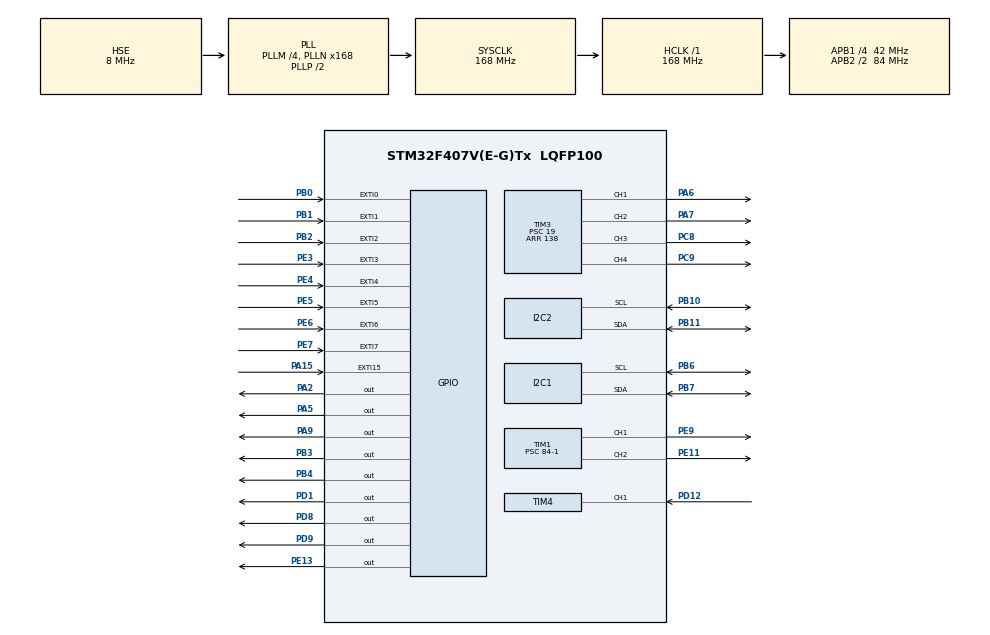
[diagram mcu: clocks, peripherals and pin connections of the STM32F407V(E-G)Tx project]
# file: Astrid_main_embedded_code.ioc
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I2C1.OwnAddress=0x20
I2C2.OwnAddress=0x21
Mcu.Family=STM32F4
Mcu.Name=STM32F407V(E-G)Tx
Mcu.Package=LQFP100
NVIC.EXTI0_IRQn=true\:0\:0\:false\:false\:true\:true\:true\:true
NVIC.EXTI15_10_IRQn=true\:0\:0\:false\:false\:true\:true\:true\:true
NVIC.EXTI1_IRQn=true\:0\:0\:false\:false\:true\:true\:true\:true
NVIC.EXTI2_IRQn=true\:0\:0\:false\:false\:true\:true\:true\:true
NVIC.EXTI3_IRQn=true\:0\:0\:false\:false\:true\:true\:true\:true
NVIC.EXTI4_IRQn=true\:0\:0\:false\:false\:true\:true\:true\:true
NVIC.EXTI9_5_IRQn=true\:0\:0\:false\:false\:true\:true\:true\:true
NVIC.I2C1_ER_IRQn=true\:0\:0\:false\:false\:true\:true\:true\:true
NVIC.I2C1_EV_IRQn=true\:0\:0\:false\:false\:true\:true\:true\:true
NVIC.I2C2_ER_IRQn=true\:0\:0\:false\:false\:true\:true\:true\:true
NVIC.I2C2_EV_IRQn=true\:0\:0\:false\:false\:true\:true\:true\:true
NVIC.PriorityGroup=NVIC_PRIORITYGROUP_4
NVIC.TIM4_IRQn=true\:0\:0\:false\:false\:true\:true\:true\:true
PA13.Mode=Serial_Wire
PA13.Signal=SYS_JTMS-SWDIO
PA14.Mode=Serial_Wire
PA14.Signal=SYS_JTCK-SWCLK
PA15.GPIO_ModeDefaultEXTI=GPIO_MODE_IT_RISING_FALLING
PA15.GPIO_PuPd=GPIO_PULLUP
PA15.Signal=GPXTI15
PA2.GPIO_ModeDefaultOutputPP=GPIO_MODE_OUTPUT_PP
PA2.Signal=GPIO_Output
PA5.Signal=GPIO_Output
PA6.Signal=S_TIM3_CH1
PA7.Signal=S_TIM3_CH2
PA9.Signal=GPIO_Output
PB0.GPIO_ModeDefaultEXTI=GPIO_MODE_IT_RISING_FALLING
PB0.GPIO_PuPd=GPIO_PULLUP
PB0.Signal=GPXTI0
PB1.Signal=GPXTI1
PB10.Mode=I2C
PB10.Signal=I2C2_SCL
PB11.Mode=I2C
PB11.Signal=I2C2_SDA
PB2.GPIO_ModeDefaultEXTI=GPIO_MODE_IT_RISING_FALLING
PB2.GPIO_PuPd=GPIO_PULLUP
PB2.Signal=GPXTI2
PB3.Signal=GPIO_Output
PB4.Signal=GPIO_Output
PB6.Mode=I2C
PB6.Signal=I2C1_SCL
PB7.Mode=I2C
PB7.Signal=I2C1_SDA
PC14-OSC32_IN.Mode=LSE-External-Oscillator
PC14-OSC32_IN.Signal=RCC_OSC32_IN
PC15-OSC32_OUT.Mode=LSE-External-Oscillator
PC15-OSC32_OUT.Signal=RCC_OSC32_OUT
PC8.Signal=S_TIM3_CH3
PC9.Signal=S_TIM3_CH4
PD1.Signal=GPIO_Output
PD12.Signal=S_TIM4_CH1
PD8.Signal=GPIO_Output
PD9.Signal=GPIO_Output
PE11.Signal=S_TIM1_CH2
PE13.Signal=GPIO_Output
PE3.GPIO_ModeDefaultEXTI=GPIO_MODE_IT_RISING_FALLING
PE3.GPIO_PuPd=GPIO_NOPULL
PE3.Signal=GPXTI3
PE4.GPIO_ModeDefaultEXTI=GPIO_MODE_IT_RISING_FALLING
PE4.GPIO_PuPd=GPIO_PULLUP
PE4.Signal=GPXTI4
PE5.GPIO_ModeDefaultEXTI=GPIO_MODE_IT_RISING
PE5.Signal=GPXTI5
PE6.GPIO_ModeDefaultEXTI=GPIO_MODE_IT_RISING_FALLING
PE6.GPIO_PuPd=GPIO_PULLUP
PE6.Signal=GPXTI6
PE7.Signal=GPXTI7
PE9.Signal=S_TIM1_CH1
PH0-OSC_IN.Mode=HSE-External-Oscillator
PH0-OSC_IN.Signal=RCC_OSC_IN
PH1-OSC_OUT.Mode=HSE-External-Oscillator
PH1-OSC_OUT.Signal=RCC_OSC_OUT
ProjectManager.HeapSize=0x200
ProjectManager.StackSize=0x400
ProjectManager.TargetToolchain=STM32CubeIDE
RCC.48MHZClocksFreq_Value=84000000
RCC.AHBFreq_Value=168000000
RCC.APB1CLKDivider=RCC_HCLK_DIV4
RCC.APB1Freq_Value=42000000
RCC.APB1TimFreq_Value=84000000
RCC.APB2CLKDivider=RCC_HCLK_DIV2
RCC.APB2Freq_Value=84000000
RCC.APB2TimFreq_Value=168000000
RCC.CortexFreq_Value=168000000
RCC.HCLKFreq_Value=168000000
RCC.HSE_VALUE=8000000
RCC.HSI_VALUE=16000000
RCC.PLLM=4
RCC.PLLN=168
RCC.PLLSourceVirtual=RCC_PLLSOURCE_HSE
RCC.SYSCLKFreq_VALUE=168000000
RCC.SYSCLKSource=RCC_SYSCLKSOURCE_PLLCLK
RCC.VCOOutputFreq_Value=336000000
SH.S_TIM1_CH1.0=TIM1_CH1,PWM Generation1 CH1
SH.S_TIM1_CH2.0=TIM1_CH2,PWM Generation2 CH2
SH.S_TIM3_CH1.0=TIM3_CH1,PWM Generation1 CH1
SH.S_TIM3_CH2.0=TIM3_CH2,PWM Generation2 CH2
SH.S_TIM3_CH3.0=TIM3_CH3,PWM Generation3 CH3
SH.S_TIM3_CH4.0=TIM3_CH4,PWM Generation4 CH4
SH.S_TIM4_CH1.0=TIM4_CH1,Input_Capture1_from_TI1
TIM1.Channel-PWM\ Generation1\ CH1=TIM_CHANNEL_1
TIM1.Channel-PWM\ Generation2\ CH2=TIM_CHANNEL_2
TIM1.Period=85-1
TIM1.Prescaler=84-1
TIM2.Prescaler=84-1
TIM3.Channel-PWM\ Generation1\ CH1=TIM_CHANNEL_1
TIM3.Channel-PWM\ Generation2\ CH2=TIM_CHANNEL_2
TIM3.Channel-PWM\ Generation3\ CH3=TIM_CHANNEL_3
TIM3.Channel-PWM\ Generation4\ CH4=TIM_CHANNEL_4
TIM3.Period=138
TIM3.Prescaler=19
TIM4.Channel-Input_Capture1_from_TI1=TIM_CHANNEL_1
TIM4.ICFilter_CH1=15
TIM4.ICPolarity_CH1=TIM_INPUTCHANNELPOLARITY_FALLING
TIM4.Period=50000
TIM4.Prescaler=41999
VP_TIM1_VS_ClockSourceINT.Mode=Internal
VP_TIM2_VS_ClockSourceINT.Mode=Internal
VP_TIM3_VS_ClockSourceINT.Mode=Internal
VP_TIM4_VS_ClockSourceINT.Mode=Internal
VP_TIM5_VS_ClockSourceINT.Mode=Internal
board=custom

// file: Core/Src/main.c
/* USER CODE BEGIN Header */
/**
  ******************************************************************************
  * @file           : main.c
  * @brief          : Main program body
  ******************************************************************************
  * @attention
  *
  * Copyright (c) 2024 STMicroelectronics.
  * All rights reserved.
  *
  * This software is licensed under terms that can be found in the LICENSE file
  * in the root directory of this software component.
  * If no LICENSE file comes with this software, it is provided AS-IS.
  *
  ******************************************************************************
  */
/* USER CODE END Header */
#include "main.h"

/* USER CODE BEGIN PD */
 #define RX_SIZE 32
 #define TX_SIZE 1
/* USER CODE END PD */

I2C_HandleTypeDef hi2c1;
I2C_HandleTypeDef hi2c2;

TIM_HandleTypeDef htim1;
TIM_HandleTypeDef htim2;
TIM_HandleTypeDef htim3;
TIM_HandleTypeDef htim4;
TIM_HandleTypeDef htim5;

void SystemClock_Config(void);
static void MX_GPIO_Init(void);
static void MX_TIM1_Init(void);
static void MX_TIM2_Init(void);
static void MX_TIM3_Init(void);
static void MX_TIM4_Init(void);
static void MX_TIM5_Init(void);
static void MX_I2C1_Init(void);
static void MX_I2C2_Init(void);

/* USER CODE BEGIN 0 */
// ENCODER
volatile int32_t encoder=0;
// direksiyon için kumanda sinyali değişkenleri extı_2
 volatile uint32_t starttime3=0;
 volatile uint32_t endtime3=0;
 volatile float pulsewidth3=0;
 volatile uint32_t count3=0;
 volatile uint32_t pulsewidth_prev=0;

 // proximity 1 extı3
 extern volatile uint32_t falling_detected2;
 // proximity2 extı5
 extern volatile uint16_t falling_detected;

 // TULPAR İÇİN KUMANDA DE�?İ�?KENLERİ
 extern volatile uint32_t starttime1;
 extern volatile uint32_t endtime1;
 extern volatile uint32_t pulsewidth1;
 extern volatile uint32_t count1;
 extern volatile int32_t dutycycle0;
 extern volatile int32_t dutycycle1;
 extern volatile int32_t dutycycle2;
 volatile uint32_t  dutycyclenew1=0;
 volatile uint32_t  dutycyclenew2=0;

 // FREN İÇİN KUMANDA SİNYALİ
 extern volatile uint32_t starttime;
 extern volatile uint32_t endtime;
 extern volatile uint32_t pulsewidth;
 extern volatile uint32_t count;
 extern volatile uint32_t command;
 extern volatile uint32_t signal;

 // pid kontrol değişkenleri
 volatile float ref_aci=0;
 volatile uint32_t t=0;
 volatile uint32_t t_prev=0;
 volatile float motoraci=0;
 volatile float aci1=0;
 volatile uint32_t aci1_prev=0;
 volatile int32_t dt=0;
 volatile int32_t error=0;
 volatile int32_t error_prev=0;
 volatile int32_t inte=0;
 volatile int32_t inte_prev=0;
 int32_t vmax=100;
 int32_t vmin=-100;
 volatile int32_t v=0;
volatile uint32_t counter=0;
volatile uint32_t pompa=0;
uint32_t b=0;
 // BO�?
 volatile int AA=0;
 volatile uint32_t duty=0;
 volatile uint32_t BB=0;
 volatile uint32_t BA=0;
 volatile uint32_t motorhiz=0;

 volatile uint32_t periyot=0, periyot1=0, periyot2=0;
 int sinirpos = 5;
 int sinirneg = -5;
 float counnt=0;
 float capture_value=0;
 float frequency=0;
 float rpm=0;
 float velo=0;
 uint32_t drive_duty=0;
 uint32_t wello =1;
 uint32_t wello_count =0;
 uint32_t wello_counter =0;

 uint32_t Encoder=720;
 uint32_t Brake = 0;
 uint32_t Drive=0;

 uint8_t RxBuffer[RX_SIZE];  // Buffer for incoming data
 uint8_t TxBuffer=50;

 void velocalculate(){
	counnt++;

	if(counnt>10000)
	{
	rpm=0;
	}
 }

 int motorrhiz(int duty,int minduty,int maxduty)
 {
 	float desiredrange=maxduty-minduty;
 	float tf =desiredrange/1904;
 	 if(duty>6198)
	{

	int duty2pwm=((duty-6198)*tf)+minduty;
			if(duty2pwm<25)
				{
				  return 0;
				}
			else
				{
				  return duty2pwm;
				}

	}

 return 0;
 }

 void drive_func()
  {
	 drive_duty=motorrhiz(dutycycle0, 60 ,65);
 	  			__HAL_TIM_SET_COMPARE(&htim3,TIM_CHANNEL_1, drive_duty);
  }
  void motorfonksiyon_pid()
  {
 	 	ref_aci=-((pulsewidth3-84000)/69.3)+1333;
 		aci1=encoder*0.12;
 		motoraci=aci1+720;
 		error=ref_aci-motoraci;
 		if(error>sinirpos)
 		{
 			__HAL_TIM_SET_COMPARE(&htim3,TIM_CHANNEL_3,0);
 			__HAL_TIM_SET_COMPARE(&htim3,TIM_CHANNEL_4,60);
 			sinirpos = 5;
 			sinirneg = -5;

 		}
 		else if(error<sinirneg)
 		{

 			__HAL_TIM_SET_COMPARE(&htim3,TIM_CHANNEL_3,60);
 			__HAL_TIM_SET_COMPARE(&htim3,TIM_CHANNEL_4,0);
 			sinirpos = 5;
 			sinirneg = -5;
 		}
 		else
 		{
 			sinirneg = -10;
 			sinirpos = 10;
 			__HAL_TIM_SET_COMPARE(&htim3,TIM_CHANNEL_3,0);
 			__HAL_TIM_SET_COMPARE(&htim3,TIM_CHANNEL_4,0);
 		}

  }

  void motorfonksiyon_pid_i2c()
    {

    	aci1=encoder*0.12;
    	motoraci=aci1+720;
    	error=Encoder-motoraci;// error hesabı
    	if(error>sinirpos)
    	{
    		__HAL_TIM_SET_COMPARE(&htim3,TIM_CHANNEL_3,0);
    		__HAL_TIM_SET_COMPARE(&htim3,TIM_CHANNEL_4,60);
    		sinirpos = 5;
    		sinirneg = -5;

    	}
    	else if(error<sinirneg)
    	{

    		__HAL_TIM_SET_COMPARE(&htim3,TIM_CHANNEL_3,60);
    	 	__HAL_TIM_SET_COMPARE(&htim3,TIM_CHANNEL_4,0);
    	 	sinirpos = 5;
  		sinirneg = -5;
    	}
    	else
    	{
    		sinirneg = -10;
    		sinirpos = 10;
    		__HAL_TIM_SET_COMPARE(&htim3,TIM_CHANNEL_3,0);
    		__HAL_TIM_SET_COMPARE(&htim3,TIM_CHANNEL_4,0);
    	}
    }

  void drive_func_i2c(uint32_t pwm)
    {
	  __HAL_TIM_SET_COMPARE(&htim3,TIM_CHANNEL_1, pwm);
    }
 void i2c_sum(){
	 Encoder=RxBuffer[1]+RxBuffer[2]+RxBuffer[3]+RxBuffer[4]+RxBuffer[5];
	 						if(Encoder<120)
	 						{
	 							Encoder=120;

	 						}
	 						else if(Encoder>1200)
	 						{

	 							Encoder=1200;
	 						}
	 						Brake=RxBuffer[6];
	 						Drive=RxBuffer[7];
 }

/* USER CODE END 0 */

int main(void)
{

  /* MCU Configuration--------------------------------------------------------*/

  /* Reset of all peripherals, Initializes the Flash interface and the Systick. */
  HAL_Init();

  /* Configure the system clock */
  SystemClock_Config();

  /* Initialize all configured peripherals */
  MX_GPIO_Init();
  MX_TIM1_Init();
  MX_TIM2_Init();
  MX_TIM3_Init();
  MX_TIM4_Init();
  MX_TIM5_Init();
  MX_I2C1_Init();
  MX_I2C2_Init();
  /* USER CODE BEGIN 2 */
  if(HAL_I2C_EnableListen_IT(&hi2c1) != HAL_OK) {
          Error_Handler();
      }

      // Enable Listening for I2C2 (Writing)
      if(HAL_I2C_EnableListen_IT(&hi2c2) != HAL_OK) {
          Error_Handler();
      }

  HAL_TIM_Base_Start(&htim2);
  HAL_TIM_Base_Start(&htim5);
   HAL_TIM_Base_Start(&htim4);

   HAL_TIM_IC_Start_IT(&htim4, TIM_CHANNEL_1); //HALL SENSOR
   HAL_TIM_PWM_Start(&htim1, TIM_CHANNEL_1);// FREN MOTORU PWM
   HAL_TIM_PWM_Start(&htim1, TIM_CHANNEL_2);// FREN MOTORU PWM
   HAL_TIM_PWM_Start(&htim3, TIM_CHANNEL_1);// TULPAR PWM
   HAL_TIM_PWM_Start(&htim3, TIM_CHANNEL_2);// DİREKSİYON PWM
   HAL_TIM_PWM_Start(&htim3, TIM_CHANNEL_4);// DİREKSİYON  MOTORU LEFT PWM(YENİ)
   HAL_TIM_PWM_Start(&htim3, TIM_CHANNEL_3);// DİREKSİYON PWM
   HAL_GPIO_WritePin(GPIOB, GPIO_PIN_4,ENABLE);// FREN RIGHT ENABLE
   HAL_GPIO_WritePin(GPIOB, GPIO_PIN_3,ENABLE);// FREN LEFT ENABLE
   HAL_GPIO_WritePin(GPIOA, GPIO_PIN_2, ENABLE);// DİREKSİYON RIGHT ENABLE
   HAL_GPIO_WritePin(GPIOA, GPIO_PIN_5,ENABLE);// DİREKSİYON LEFT ENABLE
   HAL_GPIO_WritePin(GPIOD, GPIO_PIN_1,DISABLE);//VACUUM

  /* USER CODE END 2 */

  /* Infinite loop */
  while (1)
  {

    /* USER CODE BEGIN 3 */
	  i2c_sum();

if(wello == 0){
	wello_count++;
	 velocalculate();
		  	  	drive_func();
		  	  		motorfonksiyon_pid();
		  	  		AA=__HAL_TIM_GET_COMPARE(&htim3,TIM_CHANNEL_1);

		  		if(signal == 1){
		  			if(falling_detected2==1){
		  			  		while(1){

		  			  			__HAL_TIM_SET_COMPARE(&htim1, TIM_CHANNEL_1, 0);
		  			  			__HAL_TIM_SET_COMPARE(&htim1, TIM_CHANNEL_2, 0);
		  			  		velocalculate();
		  			  		drive_func();
		  			  			motorfonksiyon_pid();
		  			  			AA=__HAL_TIM_GET_COMPARE(&htim3,TIM_CHANNEL_1);

		  			  			if(signal != 1||falling_detected2==0){
		  			  				break;
		  			  				AA=__HAL_TIM_GET_COMPARE(&htim3,TIM_CHANNEL_1);
		  			  			}
		  			  		}
		  			  	}
		  	  	__HAL_TIM_SET_COMPARE(&htim1, TIM_CHANNEL_1, 0);
		  	  	__HAL_TIM_SET_COMPARE(&htim1, TIM_CHANNEL_2, 85);
		  	  velocalculate();
		  	  drive_func();
		  	  	motorfonksiyon_pid();
		  	  	AA=__HAL_TIM_GET_COMPARE(&htim3,TIM_CHANNEL_1);

		  	  }

		  	  if(signal == 0){
		  			if(falling_detected==1){
		  			  		while(1){
		  			  			__HAL_TIM_SET_COMPARE(&htim1, TIM_CHANNEL_1, 0);
		  			  			__HAL_TIM_SET_COMPARE(&htim1, TIM_CHANNEL_2, 0);
		  			  		velocalculate();
		  			  		drive_func();
		  			  			motorfonksiyon_pid();
		  			  			AA=__HAL_TIM_GET_COMPARE(&htim3,TIM_CHANNEL_1);

		  			  			if(signal != 0||falling_detected==0){
		  			  				pompa=0;
		  			  				break;
		  			  			}
		  			  		}
		  			  	}
		  	  	__HAL_TIM_SET_COMPARE(&htim1, TIM_CHANNEL_1, 60); //holding the  motor
		  	  	__HAL_TIM_SET_COMPARE(&htim1, TIM_CHANNEL_2, 0);
		  	  velocalculate();
		  	  drive_func();
		  	  	motorfonksiyon_pid();
		  	  	AA=__HAL_TIM_GET_COMPARE(&htim3,TIM_CHANNEL_1);
		  	  }

}

else{
	wello_counter++;
	drive_func_i2c(Drive);
	i2c_sum();
		 velocalculate();
						drive_func_i2c(Drive);
						motorfonksiyon_pid_i2c();
							AA=__HAL_TIM_GET_COMPARE(&htim3,TIM_CHANNEL_1);

						if(Brake == 1){
							if(falling_detected2==1){
									while(1){

										__HAL_TIM_SET_COMPARE(&htim1, TIM_CHANNEL_1, 0);
										__HAL_TIM_SET_COMPARE(&htim1, TIM_CHANNEL_2, 0);
										i2c_sum();
									velocalculate();
									drive_func_i2c(Drive);
									motorfonksiyon_pid_i2c();
										AA=__HAL_TIM_GET_COMPARE(&htim3,TIM_CHANNEL_1);

										if(Brake != 1||falling_detected2==0){
											break;
											AA=__HAL_TIM_GET_COMPARE(&htim3,TIM_CHANNEL_1);
											drive_func_i2c(Drive);
										}
									}
								}
						__HAL_TIM_SET_COMPARE(&htim1, TIM_CHANNEL_1, 0);
						__HAL_TIM_SET_COMPARE(&htim1, TIM_CHANNEL_2, 85);
						i2c_sum();
					  velocalculate();
					  drive_func_i2c(Drive);
					  motorfonksiyon_pid_i2c();
						AA=__HAL_TIM_GET_COMPARE(&htim3,TIM_CHANNEL_1);

					  }

					  if(Brake == 0){
						  drive_func_i2c(Drive);
							if(falling_detected==1){
									while(1){
										__HAL_TIM_SET_COMPARE(&htim1, TIM_CHANNEL_1, 0);
										__HAL_TIM_SET_COMPARE(&htim1, TIM_CHANNEL_2, 0);
										i2c_sum();
									velocalculate();
									drive_func_i2c(Drive);
									motorfonksiyon_pid_i2c();
										AA=__HAL_TIM_GET_COMPARE(&htim3,TIM_CHANNEL_1);

										if(Brake != 0||falling_detected==0){
											pompa=0;
											break;
										}
									}
								}
						__HAL_TIM_SET_COMPARE(&htim1, TIM_CHANNEL_1, 60); //holding the  motor
						__HAL_TIM_SET_COMPARE(&htim1, TIM_CHANNEL_2, 0);
						i2c_sum();
					  velocalculate();
					  drive_func_i2c(Drive);
					  motorfonksiyon_pid_i2c();
						AA=__HAL_TIM_GET_COMPARE(&htim3,TIM_CHANNEL_1);
					  }

					  drive_func_i2c(Drive);

}

  }
  /* USER CODE END 3 */
}

void SystemClock_Config(void)
{
  RCC_OscInitTypeDef RCC_OscInitStruct = {0};
  RCC_ClkInitTypeDef RCC_ClkInitStruct = {0};

  /** Configure the main internal regulator output voltage
  */
  __HAL_RCC_PWR_CLK_ENABLE();
  __HAL_PWR_VOLTAGESCALING_CONFIG(PWR_REGULATOR_VOLTAGE_SCALE1);

  /** Initializes the RCC Oscillators according to the specified parameters
  * in the RCC_OscInitTypeDef structure.
  */
  RCC_OscInitStruct.OscillatorType = RCC_OSCILLATORTYPE_HSE;
  RCC_OscInitStruct.HSEState = RCC_HSE_ON;
  RCC_OscInitStruct.PLL.PLLState = RCC_PLL_ON;
  RCC_OscInitStruct.PLL.PLLSource = RCC_PLLSOURCE_HSE;
  RCC_OscInitStruct.PLL.PLLM = 4;
  RCC_OscInitStruct.PLL.PLLN = 168;
  RCC_OscInitStruct.PLL.PLLP = RCC_PLLP_DIV2;
  RCC_OscInitStruct.PLL.PLLQ = 4;
  if (HAL_RCC_OscConfig(&RCC_OscInitStruct) != HAL_OK)
  {
    Error_Handler();
  }

  /** Initializes the CPU, AHB and APB buses clocks
  */
  RCC_ClkInitStruct.ClockType = RCC_CLOCKTYPE_HCLK|RCC_CLOCKTYPE_SYSCLK
                              |RCC_CLOCKTYPE_PCLK1|RCC_CLOCKTYPE_PCLK2;
  RCC_ClkInitStruct.SYSCLKSource = RCC_SYSCLKSOURCE_PLLCLK;
  RCC_ClkInitStruct.AHBCLKDivider = RCC_SYSCLK_DIV1;
  RCC_ClkInitStruct.APB1CLKDivider = RCC_HCLK_DIV4;
  RCC_ClkInitStruct.APB2CLKDivider = RCC_HCLK_DIV2;

  if (HAL_RCC_ClockConfig(&RCC_ClkInitStruct, FLASH_LATENCY_5) != HAL_OK)
  {
    Error_Handler();
  }
}

static void MX_I2C1_Init(void)
{

  hi2c1.Instance = I2C1;
  hi2c1.Init.ClockSpeed = 100000;
  hi2c1.Init.DutyCycle = I2C_DUTYCYCLE_2;
  hi2c1.Init.OwnAddress1 = 64;
  hi2c1.Init.AddressingMode = I2C_ADDRESSINGMODE_7BIT;
  hi2c1.Init.DualAddressMode = I2C_DUALADDRESS_DISABLE;
  hi2c1.Init.OwnAddress2 = 0;
  hi2c1.Init.GeneralCallMode = I2C_GENERALCALL_DISABLE;
  hi2c1.Init.NoStretchMode = I2C_NOSTRETCH_DISABLE;
  if (HAL_I2C_Init(&hi2c1) != HAL_OK)
  {
    Error_Handler();
  }

}

static void MX_I2C2_Init(void)
{

  hi2c2.Instance = I2C2;
  hi2c2.Init.ClockSpeed = 100000;
  hi2c2.Init.DutyCycle = I2C_DUTYCYCLE_2;
  hi2c2.Init.OwnAddress1 =66;
  hi2c2.Init.AddressingMode = I2C_ADDRESSINGMODE_7BIT;
  hi2c2.Init.DualAddressMode = I2C_DUALADDRESS_DISABLE;
  hi2c2.Init.OwnAddress2 = 0;
  hi2c2.Init.GeneralCallMode = I2C_GENERALCALL_DISABLE;
  hi2c2.Init.NoStretchMode = I2C_NOSTRETCH_DISABLE;
  if (HAL_I2C_Init(&hi2c2) != HAL_OK)
  {
    Error_Handler();
  }

}

static void MX_TIM1_Init(void)
{

  TIM_ClockConfigTypeDef sClockSourceConfig = {0};
  TIM_MasterConfigTypeDef sMasterConfig = {0};
  TIM_OC_InitTypeDef sConfigOC = {0};
  TIM_BreakDeadTimeConfigTypeDef sBreakDeadTimeConfig = {0};

  htim1.Instance = TIM1;
  htim1.Init.Prescaler = 84-1;
  htim1.Init.CounterMode = TIM_COUNTERMODE_UP;
  htim1.Init.Period = 85-1;
  htim1.Init.ClockDivision = TIM_CLOCKDIVISION_DIV1;
  htim1.Init.RepetitionCounter = 0;
  htim1.Init.AutoReloadPreload = TIM_AUTORELOAD_PRELOAD_DISABLE;
  if (HAL_TIM_Base_Init(&htim1) != HAL_OK)
  {
    Error_Handler();
  }
  sClockSourceConfig.ClockSource = TIM_CLOCKSOURCE_INTERNAL;
  if (HAL_TIM_ConfigClockSource(&htim1, &sClockSourceConfig) != HAL_OK)
  {
    Error_Handler();
  }
  if (HAL_TIM_PWM_Init(&htim1) != HAL_OK)
  {
    Error_Handler();
  }
  sMasterConfig.MasterOutputTrigger = TIM_TRGO_RESET;
  sMasterConfig.MasterSlaveMode = TIM_MASTERSLAVEMODE_DISABLE;
  if (HAL_TIMEx_MasterConfigSynchronization(&htim1, &sMasterConfig) != HAL_OK)
  {
    Error_Handler();
  }
  sConfigOC.OCMode = TIM_OCMODE_PWM1;
  sConfigOC.Pulse = 0;
  sConfigOC.OCPolarity = TIM_OCPOLARITY_HIGH;
  sConfigOC.OCNPolarity = TIM_OCNPOLARITY_HIGH;
  sConfigOC.OCFastMode = TIM_OCFAST_DISABLE;
  sConfigOC.OCIdleState = TIM_OCIDLESTATE_RESET;
  sConfigOC.OCNIdleState = TIM_OCNIDLESTATE_RESET;
  if (HAL_TIM_PWM_ConfigChannel(&htim1, &sConfigOC, TIM_CHANNEL_1) != HAL_OK)
  {
    Error_Handler();
  }
  if (HAL_TIM_PWM_ConfigChannel(&htim1, &sConfigOC, TIM_CHANNEL_2) != HAL_OK)
  {
    Error_Handler();
  }
  sBreakDeadTimeConfig.OffStateRunMode = TIM_OSSR_DISABLE;
  sBreakDeadTimeConfig.OffStateIDLEMode = TIM_OSSI_DISABLE;
  sBreakDeadTimeConfig.LockLevel = TIM_LOCKLEVEL_OFF;
  sBreakDeadTimeConfig.DeadTime = 0;
  sBreakDeadTimeConfig.BreakState = TIM_BREAK_DISABLE;
  sBreakDeadTimeConfig.BreakPolarity = TIM_BREAKPOLARITY_HIGH;
  sBreakDeadTimeConfig.AutomaticOutput = TIM_AUTOMATICOUTPUT_DISABLE;
  if (HAL_TIMEx_ConfigBreakDeadTime(&htim1, &sBreakDeadTimeConfig) != HAL_OK)
  {
    Error_Handler();
  }
  HAL_TIM_MspPostInit(&htim1);

}

static void MX_TIM2_Init(void)
{

  TIM_ClockConfigTypeDef sClockSourceConfig = {0};
  TIM_MasterConfigTypeDef sMasterConfig = {0};

  htim2.Instance = TIM2;
  htim2.Init.Prescaler = 84-1;
  htim2.Init.CounterMode = TIM_COUNTERMODE_UP;
  htim2.Init.Period = 4294967295;
  htim2.Init.ClockDivision = TIM_CLOCKDIVISION_DIV1;
  htim2.Init.AutoReloadPreload = TIM_AUTORELOAD_PRELOAD_DISABLE;
  if (HAL_TIM_Base_Init(&htim2) != HAL_OK)
  {
    Error_Handler();
  }
  sClockSourceConfig.ClockSource = TIM_CLOCKSOURCE_INTERNAL;
  if (HAL_TIM_ConfigClockSource(&htim2, &sClockSourceConfig) != HAL_OK)
  {
    Error_Handler();
  }
  sMasterConfig.MasterOutputTrigger = TIM_TRGO_RESET;
  sMasterConfig.MasterSlaveMode = TIM_MASTERSLAVEMODE_DISABLE;
  if (HAL_TIMEx_MasterConfigSynchronization(&htim2, &sMasterConfig) != HAL_OK)
  {
    Error_Handler();
  }

}

static void MX_TIM3_Init(void)
{

  TIM_ClockConfigTypeDef sClockSourceConfig = {0};
  TIM_MasterConfigTypeDef sMasterConfig = {0};
  TIM_OC_InitTypeDef sConfigOC = {0};

  htim3.Instance = TIM3;
  htim3.Init.Prescaler = 19;
  htim3.Init.CounterMode = TIM_COUNTERMODE_UP;
  htim3.Init.Period = 138;
  htim3.Init.ClockDivision = TIM_CLOCKDIVISION_DIV1;
  htim3.Init.AutoReloadPreload = TIM_AUTORELOAD_PRELOAD_DISABLE;
  if (HAL_TIM_Base_Init(&htim3) != HAL_OK)
  {
    Error_Handler();
  }
  sClockSourceConfig.ClockSource = TIM_CLOCKSOURCE_INTERNAL;
  if (HAL_TIM_ConfigClockSource(&htim3, &sClockSourceConfig) != HAL_OK)
  {
    Error_Handler();
  }
  if (HAL_TIM_PWM_Init(&htim3) != HAL_OK)
  {
    Error_Handler();
  }
  sMasterConfig.MasterOutputTrigger = TIM_TRGO_RESET;
  sMasterConfig.MasterSlaveMode = TIM_MASTERSLAVEMODE_DISABLE;
  if (HAL_TIMEx_MasterConfigSynchronization(&htim3, &sMasterConfig) != HAL_OK)
  {
    Error_Handler();
  }
  sConfigOC.OCMode = TIM_OCMODE_PWM1;
  sConfigOC.Pulse = 0;
  sConfigOC.OCPolarity = TIM_OCPOLARITY_HIGH;
  sConfigOC.OCFastMode = TIM_OCFAST_DISABLE;
  if (HAL_TIM_PWM_ConfigChannel(&htim3, &sConfigOC, TIM_CHANNEL_1) != HAL_OK)
  {
    Error_Handler();
  }
  if (HAL_TIM_PWM_ConfigChannel(&htim3, &sConfigOC, TIM_CHANNEL_2) != HAL_OK)
  {
    Error_Handler();
  }
  if (HAL_TIM_PWM_ConfigChannel(&htim3, &sConfigOC, TIM_CHANNEL_3) != HAL_OK)
  {
    Error_Handler();
  }
  if (HAL_TIM_PWM_ConfigChannel(&htim3, &sConfigOC, TIM_CHANNEL_4) != HAL_OK)
  {
    Error_Handler();
  }
  HAL_TIM_MspPostInit(&htim3);

}

static void MX_TIM4_Init(void)
{

  TIM_ClockConfigTypeDef sClockSourceConfig = {0};
  TIM_MasterConfigTypeDef sMasterConfig = {0};
  TIM_IC_InitTypeDef sConfigIC = {0};

  htim4.Instance = TIM4;
  htim4.Init.Prescaler = 41999;
  htim4.Init.CounterMode = TIM_COUNTERMODE_UP;
  htim4.Init.Period = 50000;
  htim4.Init.ClockDivision = TIM_CLOCKDIVISION_DIV1;
  htim4.Init.AutoReloadPreload = TIM_AUTORELOAD_PRELOAD_DISABLE;
  if (HAL_TIM_Base_Init(&htim4) != HAL_OK)
  {
    Error_Handler();
  }
  sClockSourceConfig.ClockSource = TIM_CLOCKSOURCE_INTERNAL;
  if (HAL_TIM_ConfigClockSource(&htim4, &sClockSourceConfig) != HAL_OK)
  {
    Error_Handler();
  }
  if (HAL_TIM_IC_Init(&htim4) != HAL_OK)
  {
    Error_Handler();
  }
  sMasterConfig.MasterOutputTrigger = TIM_TRGO_RESET;
  sMasterConfig.MasterSlaveMode = TIM_MASTERSLAVEMODE_DISABLE;
  if (HAL_TIMEx_MasterConfigSynchronization(&htim4, &sMasterConfig) != HAL_OK)
  {
    Error_Handler();
  }
  sConfigIC.ICPolarity = TIM_INPUTCHANNELPOLARITY_FALLING;
  sConfigIC.ICSelection = TIM_ICSELECTION_DIRECTTI;
  sConfigIC.ICPrescaler = TIM_ICPSC_DIV1;
  sConfigIC.ICFilter = 15;
  if (HAL_TIM_IC_ConfigChannel(&htim4, &sConfigIC, TIM_CHANNEL_1) != HAL_OK)
  {
    Error_Handler();
  }

}

static void MX_TIM5_Init(void)
{

  TIM_ClockConfigTypeDef sClockSourceConfig = {0};
  TIM_MasterConfigTypeDef sMasterConfig = {0};

  htim5.Instance = TIM5;
  htim5.Init.Prescaler = 0;
  htim5.Init.CounterMode = TIM_COUNTERMODE_UP;
  htim5.Init.Period = 4294967295;
  htim5.Init.ClockDivision = TIM_CLOCKDIVISION_DIV1;
  htim5.Init.AutoReloadPreload = TIM_AUTORELOAD_PRELOAD_DISABLE;
  if (HAL_TIM_Base_Init(&htim5) != HAL_OK)
  {
    Error_Handler();
  }
  sClockSourceConfig.ClockSource = TIM_CLOCKSOURCE_INTERNAL;
  if (HAL_TIM_ConfigClockSource(&htim5, &sClockSourceConfig) != HAL_OK)
  {
    Error_Handler();
  }
  sMasterConfig.MasterOutputTrigger = TIM_TRGO_RESET;
  sMasterConfig.MasterSlaveMode = TIM_MASTERSLAVEMODE_DISABLE;
  if (HAL_TIMEx_MasterConfigSynchronization(&htim5, &sMasterConfig) != HAL_OK)
  {
    Error_Handler();
  }

}

static void MX_GPIO_Init(void)
{
  GPIO_InitTypeDef GPIO_InitStruct = {0};

  /* GPIO Ports Clock Enable */
  __HAL_RCC_GPIOE_CLK_ENABLE();
  __HAL_RCC_GPIOC_CLK_ENABLE();
  __HAL_RCC_GPIOH_CLK_ENABLE();
  __HAL_RCC_GPIOA_CLK_ENABLE();
  __HAL_RCC_GPIOB_CLK_ENABLE();
  __HAL_RCC_GPIOD_CLK_ENABLE();

  /*Configure GPIO pin Output Level */
  HAL_GPIO_WritePin(GPIOA, GPIO_PIN_2|GPIO_PIN_5|GPIO_PIN_9, GPIO_PIN_RESET);

  /*Configure GPIO pin Output Level */
  HAL_GPIO_WritePin(GPIOE, GPIO_PIN_13, GPIO_PIN_RESET);

  /*Configure GPIO pin Output Level */
  HAL_GPIO_WritePin(GPIOD, GPIO_PIN_8|GPIO_PIN_9|GPIO_PIN_1, GPIO_PIN_RESET);

  /*Configure GPIO pin Output Level */
  HAL_GPIO_WritePin(GPIOB, GPIO_PIN_3|GPIO_PIN_4, GPIO_PIN_RESET);

  /*Configure GPIO pin : PE3 */
  GPIO_InitStruct.Pin = GPIO_PIN_3;
  GPIO_InitStruct.Mode = GPIO_MODE_IT_RISING_FALLING;
  GPIO_InitStruct.Pull = GPIO_NOPULL;
  HAL_GPIO_Init(GPIOE, &GPIO_InitStruct);

  /*Configure GPIO pins : PE4 PE6 */
  GPIO_InitStruct.Pin = GPIO_PIN_4|GPIO_PIN_6;
  GPIO_InitStruct.Mode = GPIO_MODE_IT_RISING_FALLING;
  GPIO_InitStruct.Pull = GPIO_PULLUP;
  HAL_GPIO_Init(GPIOE, &GPIO_InitStruct);

  /*Configure GPIO pins : PE5 PE7 */
  GPIO_InitStruct.Pin = GPIO_PIN_5|GPIO_PIN_7;
  GPIO_InitStruct.Mode = GPIO_MODE_IT_RISING;
  GPIO_InitStruct.Pull = GPIO_NOPULL;
  HAL_GPIO_Init(GPIOE, &GPIO_InitStruct);

  /*Configure GPIO pins : PA2 PA5 PA9 */
  GPIO_InitStruct.Pin = GPIO_PIN_2|GPIO_PIN_5|GPIO_PIN_9;
  GPIO_InitStruct.Mode = GPIO_MODE_OUTPUT_PP;
  GPIO_InitStruct.Pull = GPIO_NOPULL;
  GPIO_InitStruct.Speed = GPIO_SPEED_FREQ_LOW;
  HAL_GPIO_Init(GPIOA, &GPIO_InitStruct);

  /*Configure GPIO pins : PB0 PB2 */
  GPIO_InitStruct.Pin = GPIO_PIN_0|GPIO_PIN_2;
  GPIO_InitStruct.Mode = GPIO_MODE_IT_RISING_FALLING;
  GPIO_InitStruct.Pull = GPIO_PULLUP;
  HAL_GPIO_Init(GPIOB, &GPIO_InitStruct);

  /*Configure GPIO pin : PB1 */
  GPIO_InitStruct.Pin = GPIO_PIN_1;
  GPIO_InitStruct.Mode = GPIO_MODE_IT_RISING;
  GPIO_InitStruct.Pull = GPIO_NOPULL;
  HAL_GPIO_Init(GPIOB, &GPIO_InitStruct);

  /*Configure GPIO pin : PE13 */
  GPIO_InitStruct.Pin = GPIO_PIN_13;
  GPIO_InitStruct.Mode = GPIO_MODE_OUTPUT_PP;
  GPIO_InitStruct.Pull = GPIO_NOPULL;
  GPIO_InitStruct.Speed = GPIO_SPEED_FREQ_LOW;
  HAL_GPIO_Init(GPIOE, &GPIO_InitStruct);

  /*Configure GPIO pins : PD8 PD9 PD1 */
  GPIO_InitStruct.Pin = GPIO_PIN_8|GPIO_PIN_9|GPIO_PIN_1;
  GPIO_InitStruct.Mode = GPIO_MODE_OUTPUT_PP;
  GPIO_InitStruct.Pull = GPIO_NOPULL;
  GPIO_InitStruct.Speed = GPIO_SPEED_FREQ_LOW;
  HAL_GPIO_Init(GPIOD, &GPIO_InitStruct);

  /*Configure GPIO pin : PA15 */
  GPIO_InitStruct.Pin = GPIO_PIN_15;
  GPIO_InitStruct.Mode = GPIO_MODE_IT_RISING_FALLING;
  GPIO_InitStruct.Pull = GPIO_PULLUP;
  HAL_GPIO_Init(GPIOA, &GPIO_InitStruct);

  /*Configure GPIO pins : PB3 PB4 */
  GPIO_InitStruct.Pin = GPIO_PIN_3|GPIO_PIN_4;
  GPIO_InitStruct.Mode = GPIO_MODE_OUTPUT_PP;
  GPIO_InitStruct.Pull = GPIO_NOPULL;
  GPIO_InitStruct.Speed = GPIO_SPEED_FREQ_LOW;
  HAL_GPIO_Init(GPIOB, &GPIO_InitStruct);

  /* EXTI interrupt init*/
  HAL_NVIC_SetPriority(EXTI0_IRQn, 0, 0);
  HAL_NVIC_EnableIRQ(EXTI0_IRQn);

  HAL_NVIC_SetPriority(EXTI1_IRQn, 0, 0);
  HAL_NVIC_EnableIRQ(EXTI1_IRQn);

  HAL_NVIC_SetPriority(EXTI2_IRQn, 0, 0);
  HAL_NVIC_EnableIRQ(EXTI2_IRQn);

  HAL_NVIC_SetPriority(EXTI3_IRQn, 0, 0);
  HAL_NVIC_EnableIRQ(EXTI3_IRQn);

  HAL_NVIC_SetPriority(EXTI4_IRQn, 0, 0);
  HAL_NVIC_EnableIRQ(EXTI4_IRQn);

  HAL_NVIC_SetPriority(EXTI9_5_IRQn, 0, 0);
  HAL_NVIC_EnableIRQ(EXTI9_5_IRQn);

  HAL_NVIC_SetPriority(EXTI15_10_IRQn, 0, 0);
  HAL_NVIC_EnableIRQ(EXTI15_10_IRQn);

}

/* USER CODE BEGIN 4 */
void HAL_I2C_AddrCallback(I2C_HandleTypeDef *hi2c, uint8_t TransferDirection, uint16_t AddrMatchCode)
{
    if (hi2c->Instance == I2C1) {
        if (TransferDirection == I2C_DIRECTION_TRANSMIT) {
            HAL_I2C_Slave_Seq_Receive_IT(&hi2c1, RxBuffer, RX_SIZE, I2C_FIRST_AND_LAST_FRAME);
        }
    } else if (hi2c->Instance == I2C2) {
        if (TransferDirection == I2C_DIRECTION_RECEIVE) {
            HAL_I2C_Slave_Seq_Transmit_IT(&hi2c2, &TxBuffer, 1, I2C_FIRST_AND_LAST_FRAME);
        }
    }
}
// I2C Complete Callback
void HAL_I2C_ListenCpltCallback(I2C_HandleTypeDef *hi2c)
{
    if (hi2c->Instance == I2C1) {
        HAL_I2C_EnableListen_IT(&hi2c1);
    } else if (hi2c->Instance == I2C2) {
        HAL_I2C_EnableListen_IT(&hi2c2);
    }
}

// I2C Error Callback
void HAL_I2C_ErrorCallback(I2C_HandleTypeDef *hi2c)
{
    if (hi2c->Instance == I2C1) {
        HAL_I2C_EnableListen_IT(&hi2c1);
    } else if (hi2c->Instance == I2C2) {
        HAL_I2C_EnableListen_IT(&hi2c2);
    }
}

/* USER CODE END 4 */

void Error_Handler(void)
{
  __disable_irq();
  while (1)
  {
  }
}
